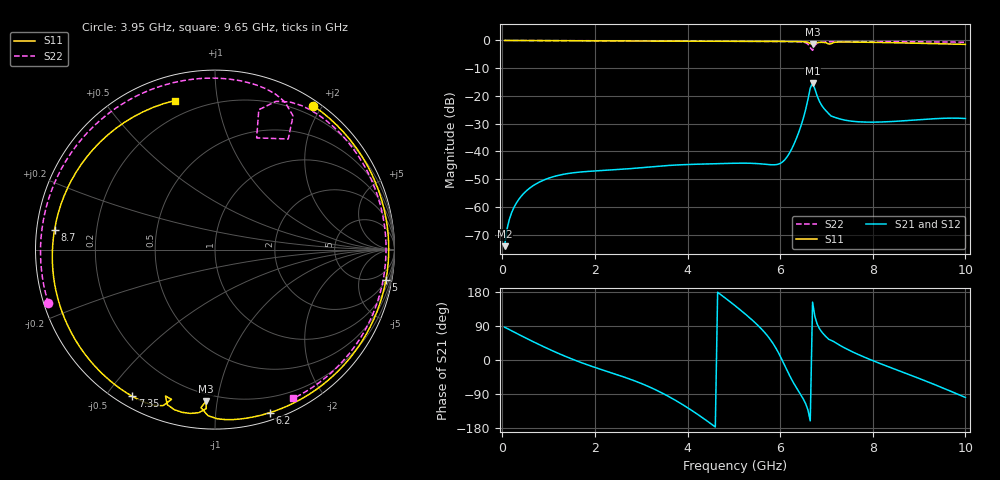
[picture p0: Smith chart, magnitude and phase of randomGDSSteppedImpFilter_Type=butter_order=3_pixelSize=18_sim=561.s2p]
! freq	dB(S11)	phase(S11)	dB(S12)	phase(S12)
!  dB(S21)	phase(S21)	dB(S22)	phase(S22)
!S-par simulation data
#  GHz  S  DB  R 50
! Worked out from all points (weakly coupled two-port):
!   200 points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, 50 MHz to 10 GHz, reference 50 ohm
!   highest |S21| = -15.39 dB at 6.7 GHz (marker M1); lowest = -74.2 dB at 50 MHz (marker M2)
!   lowest |S11| = -1.4 dB at 6.7 GHz (marker M3), VSWR 12.05, Z = 7.79 - j46.5 ohm
!   |S11| at or under -10 dB: nowhere
!   |S22| runs from -3.6 to 0.0 dB; largest |S21 - S12| = 0
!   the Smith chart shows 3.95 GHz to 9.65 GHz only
!   S11 on the Smith chart (normalised r, x): 3.95 GHz: 0.07, +1.89; 5 GHz: 2, -11; 6.2 GHz: 0.06, -1.39; 7.35 GHz: 0.04, -0.58; 8.7 GHz: 0.05, +0.06; 9.65 GHz: 0.12, +0.76
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0.05  -0.00 -4.3  -74.18 86.7  -74.18 86.7  -0.00 -2.1
0.15  -0.01 -12.9  -64.64 80.3  -64.64 80.3  -0.01 -6.3
0.3  -0.03 -25.7  -58.73 70.9  -58.73 70.9  -0.02 -12.5
0.9  -0.10 -75.9  -50.30 34.7  -50.30 34.7  -0.05 -37.3
1.3  -0.13 -108.1  -48.33 12.8  -48.33 12.8  -0.07 -53.7
1.75  -0.16 -143.1  -47.35 -8.8  -47.35 -8.8  -0.09 -72.0
2.5  -0.20 160.4  -46.56 -39.6  -46.56 -39.6  -0.13 -102.2
3.4  -0.24 94.3  -45.30 -84.0  -45.30 -84.0  -0.18 -138.9
3.95  -0.26 55.7  -44.76 -122.0  -44.76 -122.0  -0.22 -162.1
4.45  -0.27 23.0  -44.51 -163.3  -44.51 -163.3  -0.25 175.8
5  -0.29 -9.9  -44.28 145.9  -44.28 145.9  -0.29 150.1
5.05  -0.29 -12.8  -44.27 141.0  -44.27 141.0  -0.30 147.7
5.95  -0.34 -59.5  -44.66 22.2  -44.66 22.2  -0.37 101.8
6.2  -0.37 -71.5  -40.65 -40.0  -40.65 -40.0  -0.40 88.0
6.6  -0.66 -92.4  -21.26 -131.9  -21.26 -131.9  -1.29 59.7
6.7  -1.45 -93.4  -15.39 152.7  -15.39 152.7  -3.55 69.6
6.85  -0.69 -98.6  -22.02 82.4  -22.02 82.4  -0.70 63.0
7.35  -0.55 -119.4  -28.56 34.6  -28.56 34.6  -0.41 33.1
8.35  -0.78 -167.7  -29.29 -18.3  -29.29 -18.3  -0.43 -13.6
8.7  -0.91 172.9  -28.93 -34.6  -28.93 -34.6  -0.46 -27.8
9.65  -1.31 105.2  -28.01 -80.7  -28.01 -80.7  -0.57 -62.2
10  -1.40 74.0  -28.15 -98.8  -28.15 -98.8  -0.63 -73.5
